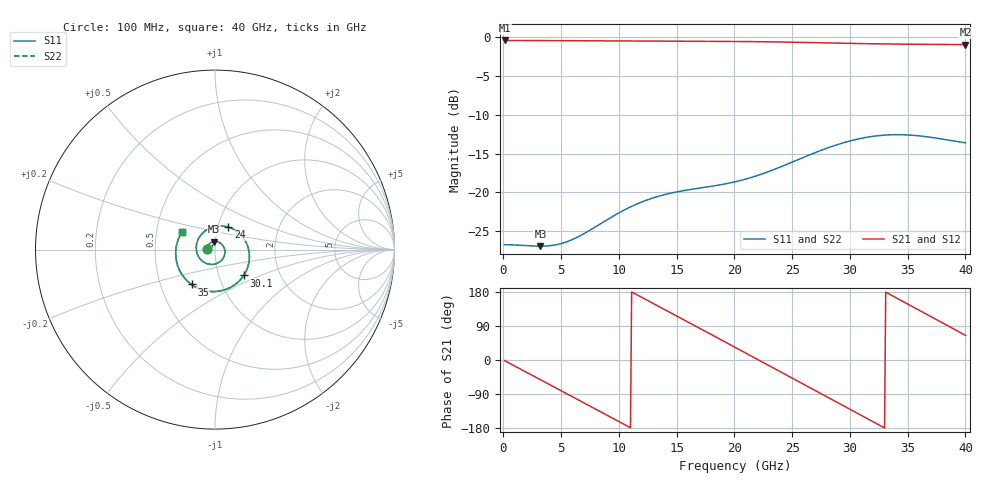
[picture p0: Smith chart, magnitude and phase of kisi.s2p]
! P_ts6_pad_cut: 0402 capacitor pad on a 50 Ω microstrip, L2 plane cut out under it (next plane L5, 1.14 mm)
! stackup: ThunderScope Rev5.3 6-layer (FR408HR / FR-4, from the board file)
! ports: 1, 2
! kisi-fdtd, conformal, dfine 0.035 mm, 571704 cells
# Hz S RI R 50
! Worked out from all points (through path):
!   400 points, 100 MHz to 40 GHz, reference 50 ohm
!   highest |S21| = -0.40 dB at 100 MHz (marker M1); lowest = -0.9 dB at 40 GHz (marker M2)
!   group delay of S21, straight-line fit = 45.5 ps
!   lowest |S11| = -27.0 dB at 3.2 GHz (marker M3), VSWR 1.09, Z = 49.1 + j4.36 ohm
!   |S11| at or under -10 dB: start of sweep to end of sweep
!   |S22| runs from -27.0 to -12.6 dB; largest |S21 - S12| = 0
!   S11 on the Smith chart (normalised r, x): 100 MHz: 0.91, +0.00; 24 GHz: 1.12, +0.29; 30.1 GHz: 1.31, -0.40; 35 GHz: 0.72, -0.30; 40 GHz: 0.68, +0.13
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1e8  -0.0458 0.00196  0.9543 -0.0271  0.9543 -0.0271  -0.0458 0.00196
1.6e9  -0.035 0.0289  0.8574 -0.419  0.8574 -0.419  -0.035 0.0289
3.2e9  -0.00718 0.0443  0.5859 -0.7519  0.5859 -0.7519  -0.00718 0.0443
5e9  0.0296 0.036  0.1436 -0.9406  0.1436 -0.9406  0.0296 0.036
6.8e9  0.0531 0.00281  -0.3334 -0.8894  -0.3334 -0.8894  0.0531 0.00281
1.02e10  0.0209 -0.0721  -0.9178 -0.2331  -0.9178 -0.2331  0.0209 -0.0721
1.18e10  -0.0217 -0.0827  -0.926 0.1926  -0.926 0.1926  -0.0217 -0.0827
1.34e10  -0.0646 -0.0684  -0.7468 0.5787  -0.7468 0.5787  -0.0646 -0.0684
1.51e10  -0.0959 -0.0312  -0.392 0.8585  -0.392 0.8585  -0.0959 -0.0312
1.67e10  -0.1046 0.0141  0.0257 0.9426  0.0257 0.9426  -0.1046 0.0141
1.83e10  -0.0928 0.0592  0.4383 0.8338  0.4383 0.8338  -0.0928 0.0592
2.01e10  -0.0584 0.1014  0.7909 0.509  0.7909 0.509  -0.0584 0.1014
2.21e10  0.00201 0.129  0.9376 -0.00181  0.9376 -0.00181  0.00201 0.129
2.4e10  0.0751 0.1249  0.7968 -0.4862  0.7968 -0.4862  0.0751 0.1249
2.67e10  0.1707 0.0451  0.2264 -0.8969  0.2264 -0.8969  0.1707 0.0451
2.84e10  0.1916 -0.0461  -0.2188 -0.8927  -0.2188 -0.8927  0.1916 -0.0461
3.01e10  0.16 -0.1441  -0.6073 -0.6825  -0.6073 -0.6825  0.16 -0.1441
3.18e10  0.0764 -0.2153  -0.8517 -0.3175  -0.8517 -0.3175  0.0764 -0.2153
3.34e10  -0.0295 -0.2328  -0.9009 0.092  -0.9009 0.092  -0.0295 -0.2328
3.5e10  -0.1308 -0.1944  -0.7644 0.4807  -0.7644 0.4807  -0.1308 -0.1944
3.76e10  -0.2173 -0.0491  -0.231 0.8699  -0.231 0.8699  -0.2173 -0.0491
4e10  -0.1855 0.0954  0.3796 0.8142  0.3796 0.8142  -0.1855 0.0954
